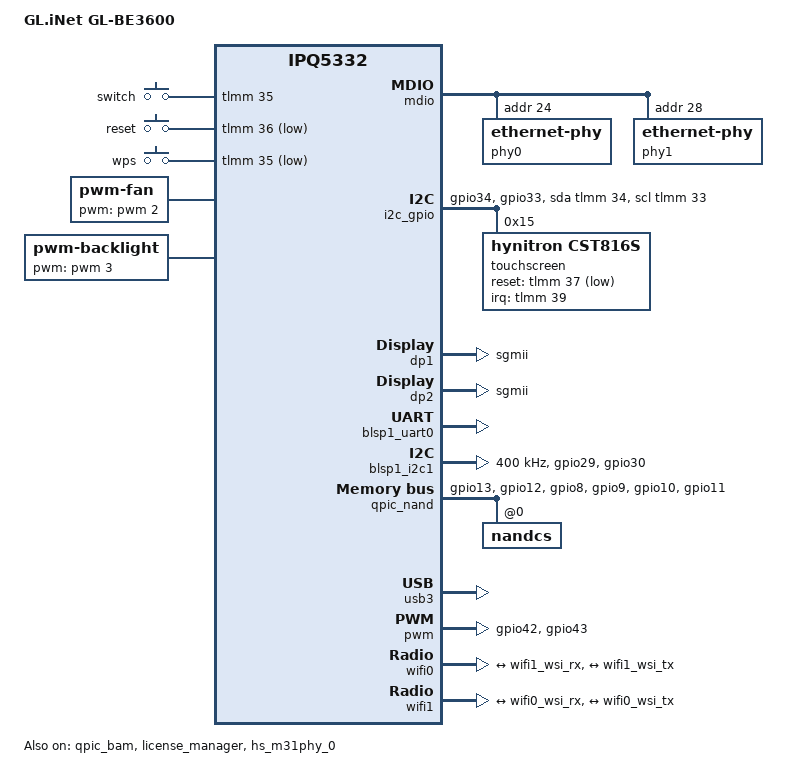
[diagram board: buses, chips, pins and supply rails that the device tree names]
// SPDX-License-Identifier: (GPL-2.0+ OR BSD-3-Clause)
/*
 * GL.iNet GL-BE3600 board device tree source
 *
 * Hardware: IPQ5332 + QCN6432 (single external radio)
 * NAND: 512MB SPI-NAND, ECC 4/512 (must match U-Boot)
 * Network: 2x 2.5G PHY (dp1=WAN/eth0 phy0x18, dp2=LAN/eth1 phy0x1c) via built-in PPE
 * Peripherals: pwm-fan, pwm-backlight (screen), i2c-gpio + CST816S touch,
 *              switch/reset/wps buttons, USB3
 *
 * Memory layout: GL custom (512MB RAM, 1G-style WiFi firmware regions)
 *
 * Copyright (c) 2026 GL.iNet / Beaverfffan
 */

/dts-v1/;

#define __RPROC_DISABLE_MPD_SUPPORT__

#include "ipq5332.dtsi"
#include <dt-bindings/gpio/gpio.h>
#include <dt-bindings/input/input.h>
#include <dt-bindings/leds/common.h>

/ {
	model = "GL.iNet GL-BE3600";
	compatible = "glinet,gl-be3600", "qcom,ipq5332-ap-mi04.1-c2", "qcom,ipq5332";

	/*
	 * GL-BE3600 custom memory layout (512MB RAM)
	 *
	 * +==========+==============+========================+
	 * |   Q6    |              |                         |
	 * |  code/  |  0x4A900000  |          20MB           |
	 * |  data   |              |                         |
	 * +---------+--------------+-------------------------+
	 * | IPQ5332 |              |                         |
	 * |  data   |  0x4BD00000  |          21MB           |
	 * +---------+--------------+-------------------------+
	 * | IPQ5332 |              |                         |
	 * | M3 Dump |  0x4D200000  |           1MB           |
	 * +---------+--------------+-------------------------+
	 * | IPQ5332 |              |                         |
	 * |  QDSS   |  0x4D300000  |           1MB           |
	 * +---------+--------------+-------------------------+
	 * | IPQ5332 |              |                         |
	 * |  CalDB  |  0x4D400000  |           5MB           |
	 * +---------+--------------+-------------------------+
	 * |QCN6432_1|              |                         |
	 * |  data   |  0x4D900000  |          21MB           |
	 * +---------+--------------+-------------------------+
	 * |QCN6432_1|              |                         |
	 * | M3 Dump |  0x4EE00000  |           1MB           |
	 * +---------+--------------+-------------------------+
	 * |QCN6432_1|              |                         |
	 * |  QDSS   |  0x4EF00000  |           1MB           |
	 * +---------+--------------+-------------------------+
	 * |QCN6432_1|              |                         |
	 * |  CalDB  |  0x4F000000  |           5MB           |
	 * +---------+--------------+-------------------------+
	 * |         |              |                         |
	 * |   MLO   |  0x4FA00000  |          18MB           |
	 * +==================================================+
	 * |             Rest of memory for Linux             |
	 * +==================================================+
	 */
	reserved-memory {
		#address-cells = <2>;
		#size-cells = <2>;
		ranges;

		q6_mem_regions: q6_mem_regions@4A900000 {
			no-map;
			reg = <0x0 0x4a900000 0x0 0x4c00000>;
		};

		q6_code_data: q6_code_data@4A900000 {
			no-map;
			reg = <0x0 0x4a900000 0x0 0x1400000>;
		};

		q6_ipq5332_data: q6_ipq5332_data@4BD00000 {
			no-map;
			reg = <0x0 0x4BD00000 0x0 0x1500000>;
		};

		m3_dump: m3_dump@4D200000 {
			no-map;
			reg = <0x0 0x4D200000 0x0 0x100000>;
		};

		q6_etr_region: q6_etr_dump@4D300000 {
			no-map;
			reg = <0x0 0x4D300000 0x0 0x100000>;
		};

		q6_ipq5332_caldb: q6_ipq5332_caldb@4D400000 {
			no-map;
			reg = <0x0 0x4D400000 0x0 0x500000>;
		};

		q6_qcn6432_data_1: q6_qcn6432_data_1@4D900000 {
			no-map;
			reg = <0x0 0x4D900000 0x0 0x1500000>;
		};

		m3_dump_qcn6432_1: m3_dump_qcn6432_1@4EE00000 {
			no-map;
			reg = <0x0 0x4EE00000 0x0 0x100000>;
		};

		q6_qcn6432_etr_1: q6_qcn6432_etr_1@4EF00000 {
			no-map;
			reg = <0x0 0x4EF00000 0x0 0x100000>;
		};

		q6_qcn6432_caldb_1: q6_qcn6432_caldb_1@4F000000 {
			no-map;
			reg = <0x0 0x4F000000 0x0 0x500000>;
		};

		mlo_global_mem0: mlo_global_mem_0@4FA00000 {
			no-map;
			reg = <0x0 0x4FA00000 0x0 0x1200000>;
		};
	};

	aliases {
		serial0 = &blsp1_uart0;
		ethernet0 = "/soc/dp1";
		ethernet1 = "/soc/dp2";
	};

	chosen {
		stdout-path = "serial0";
		bootargs-append = " clk_ignore_unused";
	};

	soc@0 {
		mdio: mdio@90000 {
			pinctrl-0 = <&mdio1_pins>;
			pinctrl-names = "default";
			status = "okay";

			phy0: ethernet-phy@0 {
				reg = <0x18>;
			};

			phy1: ethernet-phy@1 {
				reg = <0x1c>;
			};
		};

		gpio_keys {
			compatible = "gpio-keys";
			pinctrl-0 = <&button_pins>;
			pinctrl-names = "default";
			status = "okay";

			switch {
				label = "switch";
				linux,code = <0x8d>;
				gpios = <&tlmm 35 GPIO_ACTIVE_HIGH>;
				linux,input-type = <1>;
			};

			reset {
				label = "reset";
				linux,code = <KEY_RESTART>;
				gpios = <&tlmm 36 GPIO_ACTIVE_LOW>;
				linux,input-type = <1>;
			};

			wps {
				label = "wps";
				linux,code = <KEY_SETUP>;
				gpios = <&tlmm 35 GPIO_ACTIVE_LOW>;
				linux,input-type = <1>;
				debounce-interval = <60>;
			};
		};

		/* PWM fan - active cooling */
		pwm-fan {
			compatible = "pwm-fan";
			pinctrl-0 = <&fan_pins>;
			pinctrl-names = "default";
			cooling-min-state = <0x00>;
			cooling-max-state = <0xff>;
			#cooling-cells = <2>;
			pwms = <&pwm 2 40000 0>;
			cooling-levels = <0x00 0x24 0x24 0x24 0x24 0x24 0x24 0x24
					  0x24 0x24 0x24 0x24 0x24 0x24 0x24 0x24
					  0x24 0x24 0x24 0x24 0x24 0x24 0x24 0x24
					  0x24 0x24 0x24 0x24 0x24 0x24 0x24 0x24
					  0x24 0x24 0x24 0x24 0x25 0x26 0x27 0x28
					  0x29 0x2a 0x2b 0x2c 0x2d 0x2e 0x2f 0x30
					  0x31 0x32 0x33 0x34 0x35 0x36 0x37 0x38
					  0x39 0x3a 0x3b 0x3c 0x3d 0x3e 0x3f 0x40
					  0x41 0x42 0x43 0x44 0x45 0x46 0x47 0x48
					  0x49 0x4a 0x4b 0x4c 0x4d 0x4e 0x4f 0x50
					  0x51 0x52 0x53 0x54 0x55 0x56 0x57 0x58
					  0x59 0x5a 0x5b 0x5c 0x5d 0x5e 0x5f 0x60
					  0x61 0x62 0x63 0x64 0x65 0x66 0x67 0x68
					  0x69 0x6a 0x6b 0x6c 0x6d 0x6e 0x6f 0x70
					  0x71 0x72 0x73 0x74 0x75 0x76 0x77 0x78
					  0x79 0x7a 0x7b 0x7c 0x7d 0x7e 0x7f 0x80
					  0x81 0x82 0x83 0x84 0x85 0x86 0x87 0x88
					  0x89 0x8a 0x8b 0x8c 0x8d 0x8e 0x8f 0x90
					  0x91 0x92 0x93 0x94 0x95 0x96 0x97 0x98
					  0x99 0x9a 0x9b 0x9c 0x9d 0x9e 0x9f 0xa0
					  0xa1 0xa2 0xa3 0xa4 0xa5 0xa6 0xa7 0xa8
					  0xa9 0xaa 0xab 0xac 0xad 0xae 0xaf 0xb0
					  0xb1 0xb2 0xb3 0xb4 0xb5 0xb6 0xb7 0xb8
					  0xb9 0xba 0xbb 0xbc 0xbd 0xbe 0xbf 0xc0
					  0xc1 0xc2 0xc3 0xc4 0xc5 0xc6 0xc7 0xc8
					  0xc9 0xca 0xcb 0xcc 0xcd 0xce 0xcf 0xd0
					  0xd1 0xd2 0xd3 0xd4 0xd5 0xd6 0xd7 0xd8
					  0xd9 0xda 0xdb 0xdc 0xdd 0xde 0xdf 0xe0
					  0xe1 0xe2 0xe3 0xe4 0xe5 0xe6 0xe7 0xe8
					  0xe9 0xea 0xeb 0xec 0xed 0xee 0xef 0xf0
					  0xf1 0xf2 0xf3 0xf4 0xf5 0xf6 0xf7 0xf8
					  0xf9 0xfa 0xfb 0xfc 0xfd 0xfe 0xff>;
		};

		/* Screen backlight */
		backlight {
			compatible = "pwm-backlight";
			pwms = <&pwm 3 40000 0>;
			brightness-levels = <0x00 0x04 0x08 0x10 0x20 0x40 0x60 0x80
					    0xa0 0xc0 0xe0 0xff>;
			default-brightness-level = <0x0a>;
		};

		/* Bit-banged I2C for touch controller */
		i2c_gpio {
			compatible = "i2c-gpio";
			pinctrl-0 = <&i2c_gpio_pins>;
			pinctrl-names = "default";
			sda-gpios = <&tlmm 34 GPIO_ACTIVE_HIGH>;
			scl-gpios = <&tlmm 33 GPIO_ACTIVE_HIGH>;
			i2c-gpio,delay-us = <2>;
			#address-cells = <1>;
			#size-cells = <0>;
			status = "okay";

			touchscreen@15 {
				compatible = "hynitron,cst816s";
				reg = <0x15>;
				reset-gpio = <&tlmm 37 GPIO_ACTIVE_LOW>;
				interrupt-parent = <&tlmm>;
				interrupts = <39 IRQ_TYPE_EDGE_FALLING>;
				status = "okay";
			};
		};

		ess-instance {
			num_devices = <1>;

			ess-switch@3a000000 {
				switch_cpu_bmp = <0x1>;  /* cpu port bitmap */
				switch_lan_bmp = <0x2>;  /* LAN: dp2 (phy0x1c) */
				switch_wan_bmp = <0x4>;  /* WAN: dp1 (phy0x18) */
				switch_mac_mode = <0x0c>;
				switch_mac_mode1 = <0x0f>;
				switch_mac_mode2 = <0xff>;

				qcom,port_phyinfo {
					port@1 {
						port_id = <1>;
						phy_address = <0x1c>;
					};
					port@2 {
						port_id = <2>;
						phy_address = <0x18>;
					};
				};
			};
		};

		/* WAN 2.5G PHY (eth0) */
		dp1 {
			device_type = "network";
			compatible = "qcom,nss-dp";
			qcom,id = <2>;
			reg = <0x3a504000 0x4000>;
			qcom,mactype = <1>;
			local-mac-address = [000000000000];
			mdio-bus = <&mdio>;
			qcom,phy-mdio-addr = <0x18>;
			qcom,link-poll = <1>;
			phy-mode = "sgmii";
		};

		/* LAN 2.5G PHY (eth1) */
		dp2 {
			device_type = "network";
			compatible = "qcom,nss-dp";
			qcom,id = <1>;
			reg = <0x3a500000 0x4000>;
			qcom,mactype = <1>;
			local-mac-address = [000000000000];
			mdio-bus = <&mdio>;
			qcom,phy-mdio-addr = <0x1c>;
			qcom,link-poll = <1>;
			phy-mode = "sgmii";
		};

		/* EDMA host driver configuration */
		edma@3ab00000 {
			qcom,txdesc-ring-start = <4>;
			qcom,txdesc-rings = <12>;
			qcom,mht-txdesc-rings = <8>;
			qcom,txcmpl-ring-start = <4>;
			qcom,txcmpl-rings = <12>;
			qcom,mht-txcmpl-rings = <8>;
			qcom,rxfill-ring-start = <4>;
			qcom,rxfill-rings = <4>;
			qcom,rxdesc-ring-start = <12>;
			qcom,rxdesc-rings = <4>;
			qcom,rx-page-mode = <0>;
			qcom,tx-map-priority-level = <1>;
			qcom,rx-map-priority-level = <1>;
			qcom,num_loopback_rings = <1>;
			qcom,txdesc_loopback_ring_id = <0>;
			qcom,txcmpl_loopback_ring_id = <0>;
			qcom,rxfill_loopback_ring_id = <0>;
			qcom,rxdesc_loopback_ring_id = <0>;
			qcom,loopback_queue_base = <56>;
			qcom,loopback_num_queues = <8>;
			qcom,ppeds-num = <2>;
			qcom,ppeds-map = <1 1 1 1 32 8>,
					<2 2 2 2 40 8>;
			qcom,txdesc-map = <8 9 10 11>,
					  <12 13 14 15>,
					  <4 5 6 7>,
					  <16 17 18 19>,
					  <20 21 22 23>;
			qcom,txdesc-fc-grp-map = <1 2 3 4 5>;
			qcom,rxfill-map = <4 5 6 7>;
			qcom,rxdesc-map = <12 13 14 15>;
			qcom,rx-queue-start = <0>;
			qcom,rx-ring-queue-map = <0 8 16 24>,
						<1 9 17 25>,
						<2 10 18 26>,
						<3 11 19 27>,
						<4 12 20 28>,
						<5 13 21 29>,
						<6 14 22 30>,
						<7 15 23 31>;
			interrupts = <0 163 4>,
				   <0 164 4>,
				   <0 165 4>,
				   <0 166 4>,
				   <0 167 4>,
				   <0 168 4>,
				   <0 169 4>,
				   <0 170 4>,
				   <0 171 4>,
				   <0 172 4>,
				   <0 173 4>,
				   <0 174 4>,
				   <0 139 4>,
				   <0 140 4>,
				   <0 141 4>,
				   <0 142 4>,
				   <0 191 4>,
				   <0 155 4>,
				   <0 156 4>,
				   <0 157 4>,
				   <0 158 4>,
				   <0 160 4>,
				   <0 128 4>,
				   <0 152 4>,
				   <0 161 4>,
				   <0 129 4>,
				   <0 153 4>,
				   <0 175 4>,
				   <0 176 4>,
				   <0 177 4>,
				   <0 178 4>,
				   <0 179 4>,
				   <0 180 4>,
				   <0 181 4>,
				   <0 182 4>;
		};

		wsi: wsi {
			id = <0>;
			num_chip = <2>;
			status = "okay";
			chip_info = <0 1 1>,
				    <1 1 0>;
		};

		q6v5_wcss: remoteproc@d100000 {
			boot-args = <0x1 0x5 0x3 0x0 0x26 0x2 0x0>;
			memory-region = <&q6_mem_regions>,
					<&mlo_global_mem0>;

			upd-firmware-names = "IPQ5332/q6_fw1.mdt",
					     "IPQ5332/q6_fw2.mdt";

			q6_wcss_pd1: remoteproc_pd1 {
				memory-region = <&q6_ipq5332_data>,
						<&m3_dump>, <&q6_etr_region>,
						<&q6_ipq5332_caldb>,
						<&mlo_global_mem0>;
#if defined(__RPROC_DISABLE_MPD_SUPPORT__)
				status = "disabled";
#else
				status = "okay";
#endif
			};

			q6_wcss_pd2: remoteproc_pd2 {
				compatible = "qcom,ipq5332-wcss-pcie-mpd";
				firmware = "IPQ5332/q6_fw2.mdt";
				m3_firmware = "qcn6432/iu_fw.mdt";
				interrupts-extended = <&wcss_smp2p_in 16 0>,
						<&wcss_smp2p_in 17 0>,
						<&wcss_smp2p_in 20 0>,
						<&wcss_smp2p_in 19 0>;
				interrupt-names = "fatal",
						"ready",
						"spawn-ack",
						"stop-ack";
				qcom,smem-states = <&wcss_smp2p_out 16>,
						<&wcss_smp2p_out 17>,
						<&wcss_smp2p_out 18>;
				qcom,smem-state-names = "shutdown",
							"stop",
							"spawn";
				memory-region = <&q6_qcn6432_data_1>,
						<&m3_dump_qcn6432_1>,
						<&q6_qcn6432_etr_1>,
						<&q6_qcn6432_caldb_1>,
						<&mlo_global_mem0>;
#if defined(__RPROC_DISABLE_MPD_SUPPORT__)
				status = "disabled";
#else
				status = "okay";
#endif
			};
		};
	};
};

&blsp1_uart0 {
	pinctrl-0 = <&serial_0_pins>;
	pinctrl-names = "default";
	status = "okay";
};

&blsp1_i2c1 {
	clock-frequency = <400000>;
	pinctrl-0 = <&i2c_1_pins>;
	pinctrl-names = "default";
	status = "okay";
};

&blsp1_spi0 {
	status = "disabled";
};

&sdhc {
	status = "disabled";
};

&sleep_clk {
	clock-frequency = <32000>;
};

&xo {
	clock-frequency = <24000000>;
};

&qpic_bam {
	status = "okay";
};

&qpic_nand {
	pinctrl-0 = <&qspi_default_state>;
	pinctrl-names = "default";
	status = "okay";

	nandcs@0 {
		reg = <0>;
		#address-cells = <1>;
		#size-cells = <1>;

		nand-ecc-strength = <4>;
		nand-ecc-step-size = <512>;
		nand-bus-width = <8>;
	};
};

/* PINCTRL */

&tlmm {
	qspi_default_state: qspi-default-state {
		qspi_clock {
			pins = "gpio13";
			function = "qspi_clk";
			drive-strength = <8>;
			bias-pull-down;
		};

		qspi_cs {
			pins = "gpio12";
			function = "qspi_cs";
			drive-strength = <8>;
			bias-pull-up;
		};

		qspi_data {
			pins = "gpio8", "gpio9", "gpio10", "gpio11";
			function = "qspi_data";
			drive-strength = <8>;
			bias-pull-down;
		};
	};

	fan_pins: fan-pinmux {
		mux {
			pins = "gpio42";
			function = "pwm0";
			drive-strength = <8>;
		};
	};

	backlight_pins: backlight-pinmux {
		mux {
			pins = "gpio43";
			function = "pwm0";
			drive-strength = <8>;
		};
	};

	i2c_gpio_pins: i2c-gpio-state {
		sda {
			pins = "gpio34";
			function = "gpio";
			drive-strength = <8>;
			bias-pull-up;
		};

		scl {
			pins = "gpio33";
			function = "gpio";
			drive-strength = <8>;
			bias-pull-up;
		};
	};

	i2c_1_pins: i2c-1-state {
		pins = "gpio29", "gpio30";
		function = "blsp1_i2c0";
		drive-strength = <8>;
		bias-pull-up;
	};

	button_pins: button-state {
		pins = "gpio35", "gpio36";
		function = "gpio";
		drive-strength = <8>;
		bias-pull-up;
	};
};

&license_manager {
	status = "okay";
};

&usb3 {
	qcom,select-utmi-as-pipe-clk;
	status = "okay";
};

&pwm {
	pinctrl-0 = <&fan_pins>, <&backlight_pins>;
	pinctrl-names = "default";
	used-pwm-indices = <0>, <0>, <2>, <3>;
	status = "okay";
};

&hs_m31phy_0 {
	status = "okay";
};

&wifi0 {
#if defined(__RPROC_DISABLE_MPD_SUPPORT__)
	qcom,rproc = <&q6v5_wcss>;
	dump-region = <&q6_ipq5332_data>,
		<&m3_dump>,
		<&q6_etr_region>,
		<&q6_ipq5332_caldb>,
		<&mlo_global_mem0>;
#else
	qcom,multipd_arch;
	qcom,rproc = <&q6_wcss_pd1>;
	qcom,rproc_rpd = <&q6v5_wcss>;
#endif
	qcom,userpd-subsys-name = "q6v5_wcss_userpd1";
	qcom,bdf-addr = <0x4BD00000 0x4BD00000 0x4BD00000 0x0 0x0 0x0>;
	qcom,caldb-addr = <0x4D400000 0x4D400000 0x4D400000 0x0 0x0 0x0>;
	qcom,tgt-mem-mode = <0>;
	qcom,caldb-size = <0x500000>;
	qcom,board_id = <0x1b>;
	memory-region = <&q6_ipq5332_data>, <&q6_mem_regions>, <&m3_dump>,
			<&mlo_global_mem0>, <&q6_etr_region>;
	memory-region-names = "host-ddr-mem", "q6-region", "m3-dump",
			      "mlo-global-mem", "q6-etr-dump";
	qcom,wsi = <&wsi>;
	qcom,wsi_index = <0>;
	status = "okay";
	qcom,wsi-controller;

	ports {
		#address-cells = <1>;
		#size-cells = <0>;

		port@0 {
			reg = <0>;

			wifi0_wsi_tx: endpoint {
				remote-endpoint = <&wifi1_wsi_rx>;
			};
		};

		port@1 {
			reg = <1>;

			wifi0_wsi_rx: endpoint {
				remote-endpoint = <&wifi1_wsi_tx>;
			};
		};
	};
};

&wifi1 {
#if defined(__RPROC_DISABLE_MPD_SUPPORT__)
	qcom,rproc = <&q6v5_wcss>;
	dump-region = <&q6_qcn6432_data_1>,
		<&m3_dump_qcn6432_1>,
		<&q6_qcn6432_etr_1>,
		<&q6_qcn6432_caldb_1>,
		<&mlo_global_mem0>;
#else
	qcom,multipd_arch;
	qcom,rproc = <&q6_wcss_pd2>;
	qcom,rproc_rpd = <&q6v5_wcss>;
#endif
	qcom,userpd-subsys-name = "q6v5_wcss_userpd2";
	qcom,bdf-addr = <0x4D900000 0x4D900000 0x4D900000 0x0 0x0 0x0>;
	qcom,caldb-addr = <0x4F000000 0x4F000000 0x4F000000 0x0 0x0 0x0>;
	qcom,umac-irq-reset-addr = <0x20000884>;
	qcom,tgt-mem-mode = <0>;
	qcom,caldb-size = <0x500000>;
	qcom,board_id = <0x60>;
	memory-region = <&q6_qcn6432_data_1>, <&q6_mem_regions>, <&m3_dump_qcn6432_1>,
			<&mlo_global_mem0>, <&q6_qcn6432_etr_1>;
	memory-region-names = "host-ddr-mem", "q6-region", "m3-dump",
			      "mlo-global-mem", "q6-etr-dump";
	qcom,wsi = <&wsi>;
	qcom,wsi_index = <1>;
	qcom,pci_slot_id = <1>;
	status = "okay";

	interrupts = <0 0 0>,
		<0 0 0>,
		<0 0 0>,
		<0 0 0>,
		<GIC_SPI 410 IRQ_TYPE_EDGE_RISING>;

	ports {
		#address-cells = <1>;
		#size-cells = <0>;

		port@0 {
			reg = <0>;

			wifi1_wsi_tx: endpoint {
				remote-endpoint = <&wifi0_wsi_rx>;
			};
		};

		port@1 {
			reg = <1>;

			wifi1_wsi_rx: endpoint {
				remote-endpoint = <&wifi0_wsi_tx>;
			};
		};
	};
};
